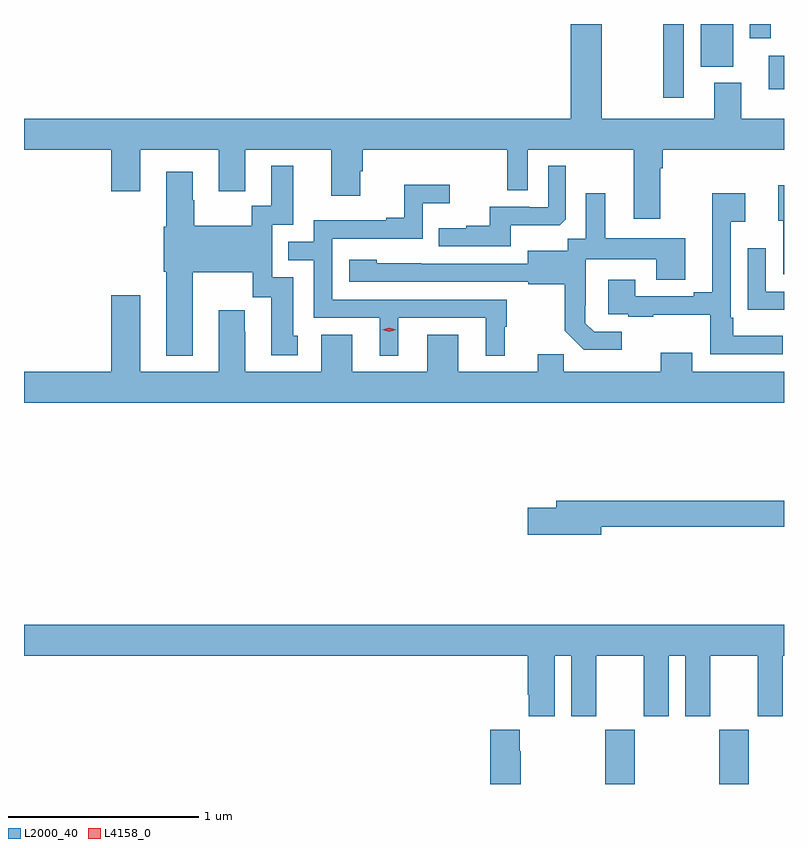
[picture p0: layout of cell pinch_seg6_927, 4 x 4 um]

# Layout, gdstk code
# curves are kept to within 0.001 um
import gdstk
lib = gdstk.Library(unit=1e-6, precision=1e-09)
def R(c, l, rs):  # rectangles x0, y0, x1, y1
    for r in rs: c.add(gdstk.rectangle(r[:2], r[2:], *l))
def P(c, l, *ps):  # polygons
    for p in ps: c.add(gdstk.Polygon(p, *l))
L2000_40 = (2000, 40)
L4158_0 = (4158, 0)

pinch_seg6_927 = lib.new_cell('pinch_seg6_927')
R(pinch_seg6_927, L2000_40, [(256.765,928.014,256.92,928.3), (257.365,928.014,257.52,928.3), (257.07,931.626,257.178,932.014), (257.624,931.67,257.705,931.846), (257.267,931.79,257.437,932.014), (257.525,931.938,257.635,932.014)])
P(pinch_seg6_927, L2000_40, [(256.747,932.014),(256.583,932.014),(256.583,931.516),(253.705,931.516),(253.705,931.352),(254.165,931.352),(254.165,931.134),(254.317,931.134),(254.317,931.352),(254.729,931.352),(254.729,931.134),(254.869,931.134),(254.869,931.352),(255.323,931.352),(255.323,931.11),(255.475,931.11),(255.475,931.239),(255.488,931.239),(255.488,931.352),(256.248,931.352),(256.248,931.138),(256.356,931.138),(256.356,931.352),(256.913,931.352),(256.913,930.99),(257.053,930.99),(257.053,931.256),(257.066,931.256),(257.066,931.352),(257.705,931.352),(257.705,931.516),(257.479,931.516),(257.479,931.705),(257.339,931.705),(257.339,931.516),(256.747,931.516)],
  [(256.267,930.956),(256.525,930.956),(256.557,930.987),(256.557,931.267),(256.464,931.267),(256.464,931.05),(256.364,931.05),(256.364,931.053),(256.157,931.053),(256.157,930.952),(256.033,930.952),(256.033,930.94),(255.889,930.94),(255.889,930.843),(256.267,930.843)],
  [(254.593,930.707),(254.909,930.707),(254.909,930.576),(255.005,930.576),(255.005,930.27),(255.145,930.27),(255.145,930.372),(255.121,930.372),(255.121,930.681),(255.012,930.681),(255.012,930.957),(255.121,930.957),(255.121,931.267),(255.005,931.267),(255.005,931.058),(254.904,931.058),(254.904,930.952),(254.601,930.952),(254.601,931.086),(254.593,931.086),(254.593,931.237),(254.453,931.237),(254.453,930.948),(254.441,930.948),(254.441,930.711),(254.453,930.711),(254.453,930.269),(254.593,930.269)],
  [(255.676,930.468),(256.136,930.468),(256.136,930.269),(256.234,930.269),(256.234,930.42),(256.246,930.42),(256.246,930.564),(255.327,930.564),(255.327,930.885),(255.804,930.885),(255.804,931.07),(255.946,931.07),(255.946,931.169),(255.706,931.169),(255.706,930.994),(255.611,930.994),(255.611,930.981),(255.231,930.981),(255.231,930.867),(255.097,930.867),(255.097,930.771),(255.231,930.771),(255.231,930.468),(255.578,930.468),(255.578,930.269),(255.676,930.269)],
  [(257.705,931.166),(257.675,931.166),(257.675,930.978),(257.7,930.978),(257.7,930.696),(257.705,930.696)],
  [(256.852,930.393),(256.707,930.393),(256.66,930.44),(256.66,930.535),(256.662,930.535),(256.662,930.776),(257.033,930.776),(257.033,930.667),(257.185,930.667),(257.185,930.886),(256.765,930.886),(256.765,931.123),(256.661,931.123),(256.661,930.884),(256.566,930.884),(256.566,930.82),(256.355,930.82),(256.355,930.753),(255.561,930.754),(255.561,930.772),(255.417,930.772),(255.417,930.657),(256.359,930.657),(256.359,930.645),(256.551,930.645),(256.551,930.399),(256.651,930.299),(256.852,930.299)],
  [(257.698,930.373),(257.437,930.373),(257.437,930.469),(257.424,930.469),(257.424,930.974),(257.5,930.974),(257.5,931.123),(257.327,931.123),(257.327,930.601),(257.231,930.601),(257.231,930.582),(256.921,930.582),(256.921,930.667),(256.781,930.667),(256.781,930.486),(256.885,930.486),(256.885,930.474),(257.017,930.474),(257.017,930.485),(257.316,930.485),(257.316,930.276),(257.698,930.276)],
  [(257.705,930.606),(257.61,930.606),(257.61,930.835),(257.514,930.835),(257.514,930.509),(257.705,930.509)],
  [(257.705,930.184),(257.221,930.184),(257.221,930.283),(257.057,930.283),(257.057,930.184),(256.547,930.184),(256.547,930.275),(256.409,930.275),(256.409,930.184),(255.991,930.184),(255.991,930.379),(255.827,930.379),(255.827,930.184),(255.433,930.184),(255.433,930.379),(255.269,930.379),(255.269,930.184),(254.869,930.184),(254.869,930.395),(254.866,930.395),(254.866,930.508),(254.729,930.508),(254.729,930.184),(254.317,930.184),(254.317,930.586),(254.165,930.586),(254.165,930.184),(253.705,930.184),(253.705,930.02),(257.705,930.02)],
  [(256.744,929.368),(257.705,929.368),(257.705,929.504),(256.505,929.504),(256.505,929.468),(256.356,929.468),(256.356,929.326),(256.744,929.326)],
  [(256.498,928.688),(256.586,928.688),(256.586,928.371),(256.717,928.371),(256.717,928.688),(256.967,928.688),(256.967,928.371),(257.098,928.371),(257.098,928.688),(257.186,928.688),(257.186,928.371),(257.317,928.371),(257.317,928.688),(257.567,928.688),(257.567,928.371),(257.698,928.371),(257.698,928.688),(257.705,928.688),(257.705,928.852),(253.705,928.852),(253.705,928.688),(256.355,928.688),(256.355,928.483),(256.361,928.483),(256.361,928.371),(256.498,928.371)],
  [(256.32,928.187),(256.315,928.187),(256.315,928.3),(256.16,928.3),(256.16,928.014),(256.32,928.014)])
P(pinch_seg6_927, L4158_0, [(255.627,930.395),(255.591,930.405),(255.591,930.405),(255.591,930.405),(255.627,930.415),(255.663,930.405),(255.663,930.405),(255.663,930.405)])

lib.write_gds('pinch_seg6_927.gds')
